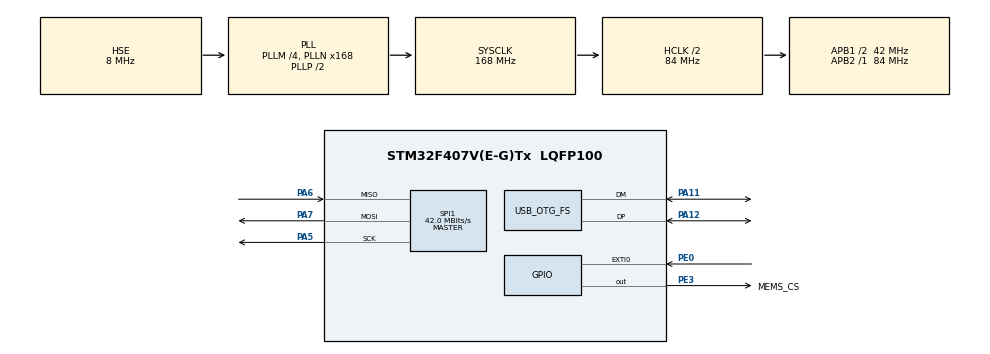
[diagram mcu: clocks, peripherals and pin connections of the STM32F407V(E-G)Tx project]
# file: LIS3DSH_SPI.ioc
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Mcu.Family=STM32F4
Mcu.Name=STM32F407V(E-G)Tx
Mcu.Package=LQFP100
NVIC.EXTI0_IRQn=true\:0\:0\:false\:false\:true\:true\:true
NVIC.OTG_FS_IRQn=true\:0\:0\:false\:false\:true\:false\:true
NVIC.PriorityGroup=NVIC_PRIORITYGROUP_4
PA11.Mode=Device_Only
PA11.Signal=USB_OTG_FS_DM
PA12.Mode=Device_Only
PA12.Signal=USB_OTG_FS_DP
PA13.Mode=Serial_Wire
PA13.Signal=SYS_JTMS-SWDIO
PA14.Mode=Serial_Wire
PA14.Signal=SYS_JTCK-SWCLK
PA5.Mode=Full_Duplex_Master
PA5.Signal=SPI1_SCK
PA6.Mode=Full_Duplex_Master
PA6.Signal=SPI1_MISO
PA7.Mode=Full_Duplex_Master
PA7.Signal=SPI1_MOSI
PE0.Signal=GPXTI0
PE3.GPIO_Label=MEMS_CS
PE3.Signal=GPIO_Output
PH0-OSC_IN.Mode=HSE-External-Oscillator
PH0-OSC_IN.Signal=RCC_OSC_IN
PH1-OSC_OUT.Mode=HSE-External-Oscillator
PH1-OSC_OUT.Signal=RCC_OSC_OUT
ProjectManager.HeapSize=0x2000
ProjectManager.StackSize=0x4000
ProjectManager.TargetToolchain=MDK-ARM V5.27
RCC.48MHZClocksFreq_Value=48000000
RCC.AHBCLKDivider=RCC_SYSCLK_DIV2
RCC.AHBFreq_Value=84000000
RCC.APB1CLKDivider=RCC_HCLK_DIV2
RCC.APB1Freq_Value=42000000
RCC.APB1TimFreq_Value=84000000
RCC.APB2Freq_Value=84000000
RCC.APB2TimFreq_Value=84000000
RCC.CortexFreq_Value=84000000
RCC.HCLKFreq_Value=84000000
RCC.HSE_VALUE=8000000
RCC.HSI_VALUE=16000000
RCC.LSE_VALUE=32768
RCC.PLLM=4
RCC.PLLN=168
RCC.PLLQ=7
RCC.SYSCLKFreq_VALUE=168000000
RCC.SYSCLKSource=RCC_SYSCLKSOURCE_PLLCLK
RCC.VCOOutputFreq_Value=336000000
SPI1.CalculateBaudRate=42.0 MBits/s
SPI1.Direction=SPI_DIRECTION_2LINES
SPI1.Mode=SPI_MODE_MASTER
SPI1.VirtualType=VM_MASTER
USB_DEVICE.CLASS_NAME_FS=CDC
USB_DEVICE.VirtualMode-CDC_FS=Cdc
USB_DEVICE.VirtualModeFS=Cdc_FS
USB_OTG_FS.VirtualMode=Device_Only
VP_USB_DEVICE_VS_USB_DEVICE_CDC_FS.Mode=CDC_FS
board=custom

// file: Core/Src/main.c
/* USER CODE BEGIN Header */
/**
  ******************************************************************************
  * @file           : main.c
  * @brief          : Main program body
  ******************************************************************************
  * @attention
  *
  * <h2><center>&copy; Copyright (c) 2021 STMicroelectronics.
  * All rights reserved.</center></h2>
  *
  * This software component is licensed by ST under Ultimate Liberty license
  * SLA0044, the "License"; You may not use this file except in compliance with
  * the License. You may obtain a copy of the License at:
  *                             www.st.com/SLA0044
  *
  ******************************************************************************
  */
/* USER CODE END Header */
#include "main.h"
#include "spi.h"
#include "usb_device.h"
#include "gpio.h"

/* USER CODE BEGIN Includes */

#include "usbd_cdc_if.h"
#include <string.h>
uint8_t myBuf[20] = "Hello World \r\n";

#include "MY_LIS3DSH.h"
/* USER CODE END Includes */

void SystemClock_Config(void);

/* USER CODE BEGIN 0 */
LIS3DSH_DataScaled myData;
/* USER CODE END 0 */

int main(void)
{
  /* USER CODE BEGIN 1 */
	LIS3DSH_InitTypeDef myAccConfigDef;
	uint8_t MSG[35] = {'\0'};
	//int16_t Ax, Ay, Az;
  /* USER CODE END 1 */

  /* MCU Configuration--------------------------------------------------------*/

  /* Reset of all peripherals, Initializes the Flash interface and the Systick. */
  HAL_Init();

  /* Configure the system clock */
  SystemClock_Config();

  /* Initialize all configured peripherals */
  MX_GPIO_Init();
  MX_SPI1_Init();
  MX_USB_DEVICE_Init();
  /* USER CODE BEGIN 2 */
	myAccConfigDef.dataRate = LIS3DSH_DATARATE_25;
	myAccConfigDef.fullScale = LIS3DSH_FULLSCALE_4;
	myAccConfigDef.antiAliasingBW = LIS3DSH_FILTER_BW_50;
	myAccConfigDef.enableAxes = LIS3DSH_XYZ_ENABLE;
	myAccConfigDef.interruptEnable = true;
	LIS3DSH_Init(&hspi1, &myAccConfigDef);

	LIS3DSH_X_calibrate(-1000.0, 980.0);
	LIS3DSH_Y_calibrate(-1020.0, 1040.0);
	LIS3DSH_Z_calibrate(-920.0, 1040.0);
  /* USER CODE END 2 */

  /* Infinite loop */
  while (1)
  {
			myData = LIS3DSH_GetDataScaled();
			sprintf(MSG, "Ax = %f ,Ay = %f, Az = %f\r\n", myData.x, myData.y, myData.z);
			CDC_Transmit_FS(MSG,strlen((char *)MSG));
			HAL_Delay(200);
  }
}

void SystemClock_Config(void)
{
  RCC_OscInitTypeDef RCC_OscInitStruct = {0};
  RCC_ClkInitTypeDef RCC_ClkInitStruct = {0};

  /** Configure the main internal regulator output voltage
  */
  __HAL_RCC_PWR_CLK_ENABLE();
  __HAL_PWR_VOLTAGESCALING_CONFIG(PWR_REGULATOR_VOLTAGE_SCALE1);
  /** Initializes the RCC Oscillators according to the specified parameters
  * in the RCC_OscInitTypeDef structure.
  */
  RCC_OscInitStruct.OscillatorType = RCC_OSCILLATORTYPE_HSE;
  RCC_OscInitStruct.HSEState = RCC_HSE_ON;
  RCC_OscInitStruct.PLL.PLLState = RCC_PLL_ON;
  RCC_OscInitStruct.PLL.PLLSource = RCC_PLLSOURCE_HSE;
  RCC_OscInitStruct.PLL.PLLM = 4;
  RCC_OscInitStruct.PLL.PLLN = 168;
  RCC_OscInitStruct.PLL.PLLP = RCC_PLLP_DIV2;
  RCC_OscInitStruct.PLL.PLLQ = 7;
  if (HAL_RCC_OscConfig(&RCC_OscInitStruct) != HAL_OK)
  {
    Error_Handler();
  }
  /** Initializes the CPU, AHB and APB buses clocks
  */
  RCC_ClkInitStruct.ClockType = RCC_CLOCKTYPE_HCLK|RCC_CLOCKTYPE_SYSCLK
                              |RCC_CLOCKTYPE_PCLK1|RCC_CLOCKTYPE_PCLK2;
  RCC_ClkInitStruct.SYSCLKSource = RCC_SYSCLKSOURCE_PLLCLK;
  RCC_ClkInitStruct.AHBCLKDivider = RCC_SYSCLK_DIV2;
  RCC_ClkInitStruct.APB1CLKDivider = RCC_HCLK_DIV2;
  RCC_ClkInitStruct.APB2CLKDivider = RCC_HCLK_DIV1;

  if (HAL_RCC_ClockConfig(&RCC_ClkInitStruct, FLASH_LATENCY_2) != HAL_OK)
  {
    Error_Handler();
  }
}

void Error_Handler(void)
{
  __disable_irq();
  while (1)
  {
  }
}

/************************ (C) COPYRIGHT STMicroelectronics *****END OF FILE****/
